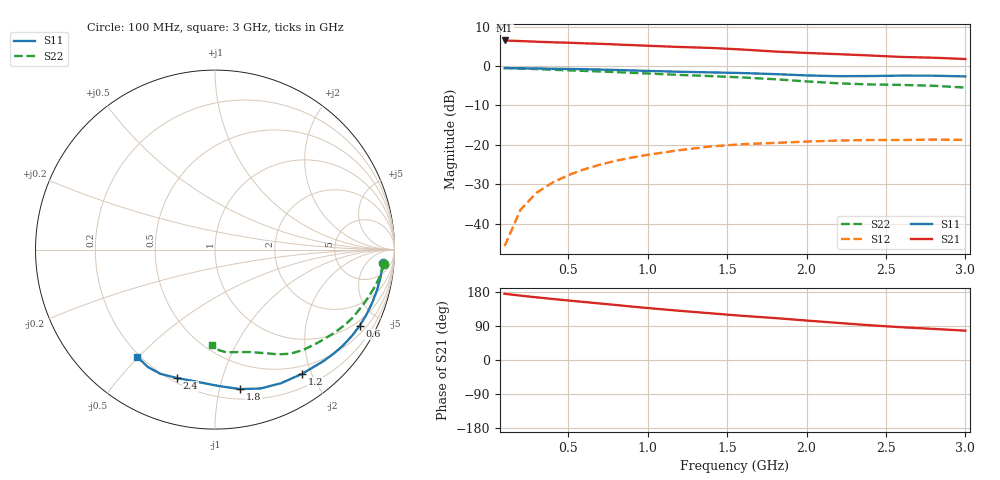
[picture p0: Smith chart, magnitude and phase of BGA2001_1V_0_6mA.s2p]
! Title: BGA2001
! Bias: Vce=1V,Ic=.6mA
! Company: Philips Semiconductors NL
! User: Quality&Reliability T&D
! Measure time: 23 Oct 1998 / 09:07:58
#  MHz  S  MA  R 50
! Freq  S11  S21  S12  S22  :
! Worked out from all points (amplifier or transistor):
!   20 points, 100 MHz to 3 GHz, reference 50 ohm
!   highest |S21| = 6.5 dB at 100 MHz (marker M1)
!   |S21| within 3 dB of that: start of sweep to 1.907 GHz
!   unconditionally stable (mu >= 1): start of sweep to 102.7 MHz
!   at 400 MHz: K = 0.20, MSG = 17.8 dB, |S12| = -29.6 dB
!   at 1.2 GHz: K = 0.34, MSG = 13.1 dB, |S12| = -21.4 dB
!   at 3 GHz: K = 0.93, MSG = 10.3 dB, |S12| = -18.7 dB
!   S11 on the Smith chart (normalised r, x): 100 MHz: 12, -15; 600 MHz: 0.78, -3.89; 1.2 GHz: 0.38, -1.86; 1.8 GHz: 0.28, -1.16; 2.4 GHz: 0.22, -0.72; 3 GHz: 0.19, -0.50
100  0.9373 -4.6  2.11 174.7  0.005179 53.7  0.9471 -4.9
200  0.9355 -9.3  2.073 169.9  0.01499 83.5  0.9315 -9.2
300  0.9307 -14.0  2.035 165.4  0.0246 80.0  0.914 -13.1
400  0.9245 -18.7  2 161.1  0.03306 76.5  0.897 -16.7
500  0.9182 -23.3  1.976 157.1  0.0412 73.4  0.882 -20.1
600  0.9108 -27.8  1.941 153.1  0.04883 70.4  0.8671 -23.4
700  0.9016 -32.3  1.914 149.1  0.05596 67.4  0.8541 -26.6
800  0.8914 -36.8  1.877 145.2  0.06282 64.4  0.8379 -29.8
900  0.8791 -41.2  1.844 141.0  0.06888 61.3  0.8209 -32.9
1000  0.8668 -45.7  1.807 137.2  0.07471 58.7  0.8041 -36.1
1200  0.8455 -54.9  1.745 129.9  0.08555 53.3  0.7716 -42.5
1400  0.8302 -63.8  1.696 123.1  0.09551 48.3  0.7446 -48.7
1600  0.8139 -72.0  1.618 116.5  0.102 44.0  0.7157 -54.2
1800  0.7893 -79.9  1.527 110.7  0.1058 40.8  0.68 -59.1
2000  0.7603 -88.4  1.465 104.2  0.11 36.3  0.6383 -64.6
2200  0.7431 -97.8  1.414 97.8  0.1133 31.8  0.6031 -71.2
2400  0.746 -106.5  1.36 91.7  0.1151 28.4  0.5836 -78.1
2600  0.7561 -113.7  1.304 86.4  0.1151 26.8  0.5758 -83.6
2800  0.7539 -119.7  1.274 82.0  0.1167 24.2  0.5613 -87.7
3000  0.7378 -126.0  1.227 77.5  0.1155 22.5  0.5327 -92.0
